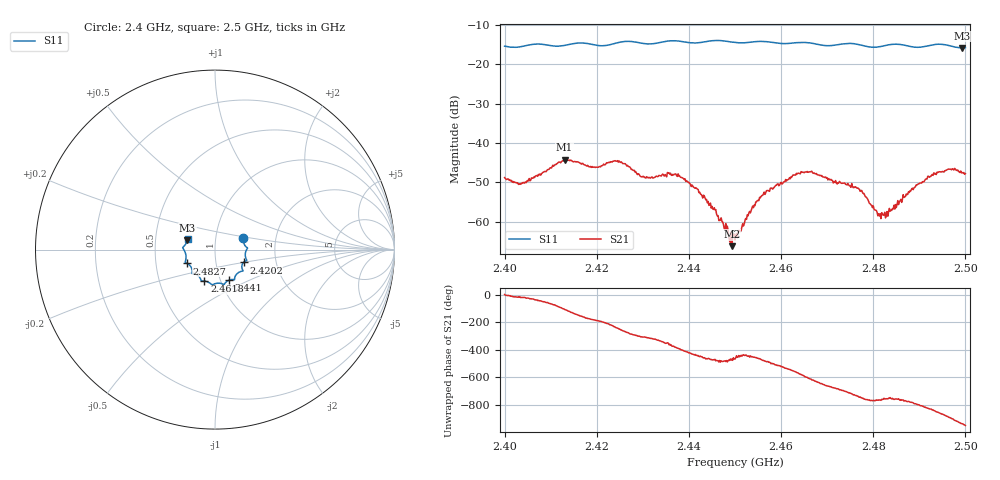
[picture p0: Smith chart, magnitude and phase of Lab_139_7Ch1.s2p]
# Hz S RI R 50
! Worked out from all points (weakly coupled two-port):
!   601 points, 2.4 GHz to 2.5 GHz, reference 50 ohm
!   highest |S21| = -44.28 dB at 2.413 GHz (marker M1); lowest = -66.3 dB at 2.4493 GHz (marker M2)
!   lowest |S11| = -15.8 dB at 2.4993 GHz (marker M3), VSWR 1.39, Z = 36.5 + j3.8 ohm
!   |S11| at or under -10 dB: start of sweep to end of sweep
!   S12 and S22 are empty: the file has one direction only
!   S11 on the Smith chart (normalised r, x): 2.4 GHz: 1.36, +0.18; 2.4202 GHz: 1.36, -0.20; 2.441 GHz: 1.10, -0.39; 2.4618 GHz: 0.84, -0.30; 2.4827 GHz: 0.72, -0.11; 2.5 GHz: 0.73, +0.09
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2.4e9  0.1585 0.0628  0.00361 0.000249  0 0  0 0
2.404167e9  0.1697 0.0189  0.00301 -0.000911  0 0  0 0
2.413e9  0.1695 -0.0395  -0.00145 -0.00594  0 0  0 0
2.416667e9  0.1771 -0.0609  -0.00486 -0.00232  0 0  0 0
2.420167e9  0.1588 -0.0714  -0.00486 0.000567  0 0  0 0
2.424333e9  0.1522 -0.1092  -0.003 0.00503  0 0  0 0
2.429833e9  0.1382 -0.1238  0.00209 0.00304  0 0  0 0
2.433333e9  0.1117 -0.1507  0.00321 0.00193  0 0  0 0
2.437333e9  0.1066 -0.1679  0.00348 -0.0016  0 0  0 0
2.441e9  0.0787 -0.1698  0.000758 -0.00262  0 0  0 0
2.449333e9  0.035 -0.1887  -0.000134 -0.000467  0 0  0 0
2.45e9  0.0287 -0.1874  -0.00017 -0.000557  0 0  0 0
2.455833e9  -0.0156 -0.1954  -0.000846 -0.00197  0 0  0 0
2.461833e9  -0.059 -0.1753  -0.00362 0.000141  0 0  0 0
2.466667e9  -0.0787 -0.1683  -0.000889 0.00427  0 0  0 0
2.4765e9  -0.1275 -0.1277  0.00254 -0.000775  0 0  0 0
2.481167e9  -0.1436 -0.0849  0.000852 -0.000927  0 0  0 0
2.482667e9  -0.1559 -0.0771  0.000884 -0.000678  0 0  0 0
2.483333e9  -0.1604 -0.0752  0.00111 -0.000721  0 0  0 0
2.492333e9  -0.1746 0.000677  -0.00139 -0.00347  0 0  0 0
2.499333e9  -0.1541 0.0508  -0.00326 0.00264  0 0  0 0
2.5e9  -0.1521 0.0603  -0.00254 0.00318  0 0  0 0
